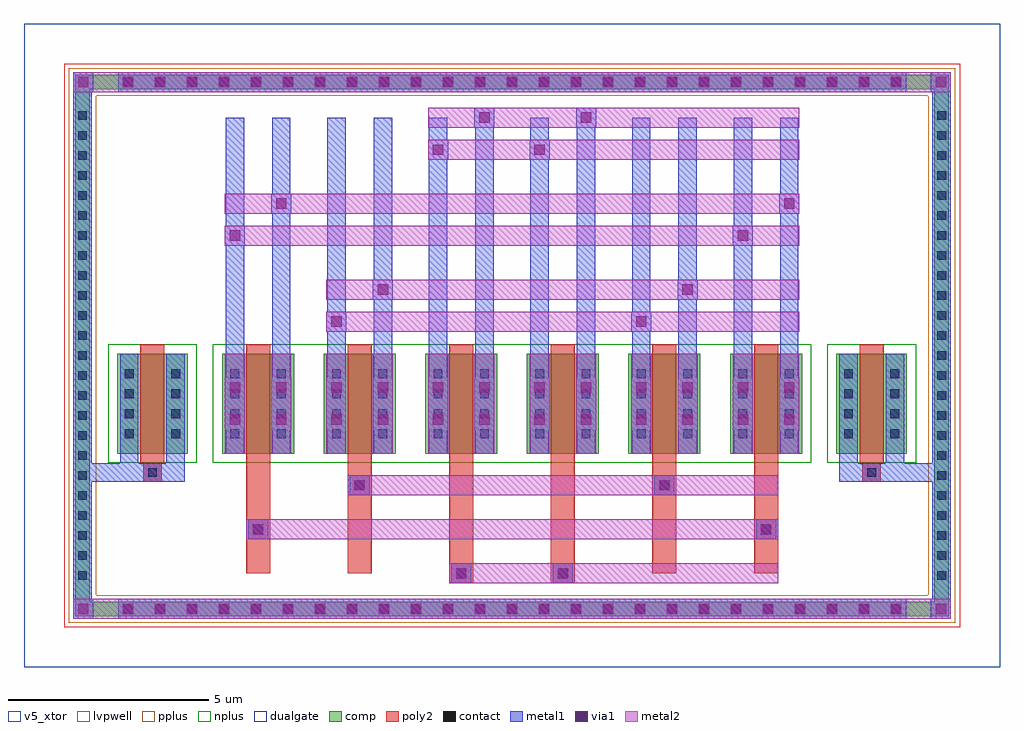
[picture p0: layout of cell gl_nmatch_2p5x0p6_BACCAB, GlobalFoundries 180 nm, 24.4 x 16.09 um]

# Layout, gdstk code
import gdstk
lib = gdstk.Library(unit=1e-6, precision=1e-09)
def R(c, l, rs):  # rectangles x0, y0, x1, y1
    for r in rs: c.add(gdstk.rectangle(r[:2], r[2:], *l))
def A(c, l, x, y, w, h, nx, ny, dx, dy):  # array of equal rectangles
    R(c, l, [(x+i*dx, y+j*dy, x+i*dx+w, y+j*dy+h) for i in range(nx) for j in range(ny)])
def P(c, l, *ps):  # polygons
    for p in ps: c.add(gdstk.Polygon(p, *l))
comp = (22, 0)
poly2 = (30, 0)
pplus = (31, 0)
nplus = (32, 0)
contact = (33, 0)
metal1 = (34, 0)
via1 = (35, 0)
metal2 = (36, 0)
dualgate = (55, 0)
v5_xtor = (112, 1)
lvpwell = (204, 0)

gl_nmatch_2p5x0p6_baccab = lib.new_cell('gl_nmatch_2p5x0p6_BACCAB')
A(gl_nmatch_2p5x0p6_baccab, comp, -9.78, -6.765, 0.36, 0.36, 25, 2, 0.8, 13.17)
A(gl_nmatch_2p5x0p6_baccab, comp, -10.92, -5.93, 0.36, 0.36, 1, 24, 0, 0.5)
A(gl_nmatch_2p5x0p6_baccab, comp, 10.56, -5.93, 0.36, 0.36, 1, 24, 0, 0.5)
A(gl_nmatch_2p5x0p6_baccab, comp, -7.25, -2.705, 1.8, 2.5, 6, 1, 2.54, 0)
R(gl_nmatch_2p5x0p6_baccab, comp, [(-9.78,-6.765,9.78,-6.405), (-10.92,-5.93,-10.56,5.93), (10.56,-5.93,10.92,5.93), (-9.87,-2.705,-8.11,-0.205), (8.11,-2.705,9.87,-0.205), (-9.78,6.405,9.78,6.765)])
P(gl_nmatch_2p5x0p6_baccab, comp, [(-10.92,-6.765),(-10.92,-6.405),(-10.56,-6.405),(10.56,-6.405),(10.56,6.405),(-10.56,6.405),(-10.56,-6.405),(-10.92,-6.405),(-10.92,6.765),(10.92,6.765),(10.92,-6.765)])
A(gl_nmatch_2p5x0p6_baccab, poly2, -6.65, -2.945, 0.6, 2.98, 6, 1, 2.54, 0)
R(gl_nmatch_2p5x0p6_baccab, poly2, [(-1.57,-5.945,-0.97,-5.445), (0.97,-5.945,1.57,-5.445), (-1.45,-5.875,-1.09,-5.515), (1.09,-5.875,1.45,-5.515), (-6.65,-5.695,-6.05,-2.945), (-4.11,-5.695,-3.51,-2.945), (3.51,-5.695,4.11,-2.945), (6.05,-5.695,6.65,-2.945), (-1.57,-5.445,-0.97,-2.945), (0.97,-5.445,1.57,-2.945), (-6.65,-4.845,-6.05,-4.345), (6.05,-4.845,6.65,-4.345), (-6.53,-4.775,-6.17,-4.415), (6.17,-4.775,6.53,-4.415), (-6.65,-4.345,-6.05,-2.945), (6.05,-4.345,6.65,-2.945), (-4.11,-3.745,-3.51,-3.245), (3.51,-3.745,4.11,-3.245), (-3.99,-3.675,-3.63,-3.315), (3.63,-3.675,3.99,-3.315), (-9.22,-3.405,-8.76,-2.945), (8.76,-3.405,9.22,-2.945), (-9.17,-3.355,-8.81,-2.995), (8.81,-3.355,9.17,-2.995), (-4.11,-3.245,-3.51,-2.945), (3.51,-3.245,4.11,-2.945), (-9.29,-2.945,-8.69,0.035), (8.69,-2.945,9.29,0.035)])
P(gl_nmatch_2p5x0p6_baccab, pplus, [(-11.08,-6.925),(-11.08,-6.245),(-10.4,-6.245),(10.4,-6.245),(10.4,6.245),(-10.4,6.245),(-10.4,-6.245),(-11.08,-6.245),(-11.08,6.925),(11.08,6.925),(11.08,-6.925)])
A(gl_nmatch_2p5x0p6_baccab, nplus, -7.48, -2.935, 2.26, 2.96, 6, 1, 2.54, 0)
R(gl_nmatch_2p5x0p6_baccab, nplus, [(-10.1,-2.935,-7.88,0.025), (-7.48,-2.935,7.48,0.025), (7.88,-2.935,10.1,0.025)])
A(gl_nmatch_2p5x0p6_baccab, contact, -9.71, -6.695, 0.22, 0.22, 25, 2, 0.8, 13.17)
A(gl_nmatch_2p5x0p6_baccab, contact, -10.85, -5.86, 0.22, 0.22, 1, 24, 0, 0.5)
A(gl_nmatch_2p5x0p6_baccab, contact, 10.63, -5.86, 0.22, 0.22, 1, 24, 0, 0.5)
A(gl_nmatch_2p5x0p6_baccab, contact, -9.68, -2.315, 0.22, 0.22, 1, 4, 0, 0.5)
A(gl_nmatch_2p5x0p6_baccab, contact, -8.52, -2.315, 0.22, 0.22, 1, 4, 0, 0.5)
A(gl_nmatch_2p5x0p6_baccab, contact, -7.04, -2.315, 0.22, 0.22, 1, 4, 0, 0.5)
A(gl_nmatch_2p5x0p6_baccab, contact, -5.88, -2.315, 0.22, 0.22, 1, 4, 0, 0.5)
A(gl_nmatch_2p5x0p6_baccab, contact, -4.5, -2.315, 0.22, 0.22, 1, 4, 0, 0.5)
A(gl_nmatch_2p5x0p6_baccab, contact, -3.34, -2.315, 0.22, 0.22, 1, 4, 0, 0.5)
A(gl_nmatch_2p5x0p6_baccab, contact, -1.96, -2.315, 0.22, 0.22, 1, 4, 0, 0.5)
A(gl_nmatch_2p5x0p6_baccab, contact, -0.8, -2.315, 0.22, 0.22, 1, 4, 0, 0.5)
A(gl_nmatch_2p5x0p6_baccab, contact, 0.58, -2.315, 0.22, 0.22, 1, 4, 0, 0.5)
A(gl_nmatch_2p5x0p6_baccab, contact, 1.74, -2.315, 0.22, 0.22, 1, 4, 0, 0.5)
A(gl_nmatch_2p5x0p6_baccab, contact, 3.12, -2.315, 0.22, 0.22, 1, 4, 0, 0.5)
A(gl_nmatch_2p5x0p6_baccab, contact, 4.28, -2.315, 0.22, 0.22, 1, 4, 0, 0.5)
A(gl_nmatch_2p5x0p6_baccab, contact, 5.66, -2.315, 0.22, 0.22, 1, 4, 0, 0.5)
A(gl_nmatch_2p5x0p6_baccab, contact, 6.82, -2.315, 0.22, 0.22, 1, 4, 0, 0.5)
A(gl_nmatch_2p5x0p6_baccab, contact, 8.3, -2.315, 0.22, 0.22, 1, 4, 0, 0.5)
A(gl_nmatch_2p5x0p6_baccab, contact, 9.46, -2.315, 0.22, 0.22, 1, 4, 0, 0.5)
R(gl_nmatch_2p5x0p6_baccab, contact, [(-1.38,-5.805,-1.16,-5.585), (1.16,-5.805,1.38,-5.585), (-6.46,-4.705,-6.24,-4.485), (6.24,-4.705,6.46,-4.485), (-3.92,-3.605,-3.7,-3.385), (3.7,-3.605,3.92,-3.385), (-9.1,-3.285,-8.88,-3.065), (8.88,-3.285,9.1,-3.065)])
A(gl_nmatch_2p5x0p6_baccab, metal1, -9.85, -6.835, 0.5, 0.5, 25, 2, 0.8, 13.17)
A(gl_nmatch_2p5x0p6_baccab, metal1, -10.97, -5.98, 0.46, 0.46, 1, 24, 0, 0.5)
A(gl_nmatch_2p5x0p6_baccab, metal1, 10.51, -5.98, 0.46, 0.46, 1, 24, 0, 0.5)
A(gl_nmatch_2p5x0p6_baccab, metal1, -9.8, -2.435, 0.46, 0.46, 1, 4, 0, 0.5)
A(gl_nmatch_2p5x0p6_baccab, metal1, -8.64, -2.435, 0.46, 0.46, 1, 4, 0, 0.5)
A(gl_nmatch_2p5x0p6_baccab, metal1, -7.16, -2.435, 0.46, 0.46, 1, 4, 0, 0.5)
A(gl_nmatch_2p5x0p6_baccab, metal1, -6, -2.435, 0.46, 0.46, 1, 4, 0, 0.5)
A(gl_nmatch_2p5x0p6_baccab, metal1, -4.62, -2.435, 0.46, 0.46, 1, 4, 0, 0.5)
A(gl_nmatch_2p5x0p6_baccab, metal1, -3.46, -2.435, 0.46, 0.46, 1, 4, 0, 0.5)
A(gl_nmatch_2p5x0p6_baccab, metal1, -2.08, -2.435, 0.46, 0.46, 1, 4, 0, 0.5)
A(gl_nmatch_2p5x0p6_baccab, metal1, -0.92, -2.435, 0.46, 0.46, 1, 4, 0, 0.5)
A(gl_nmatch_2p5x0p6_baccab, metal1, 0.46, -2.435, 0.46, 0.46, 1, 4, 0, 0.5)
A(gl_nmatch_2p5x0p6_baccab, metal1, 1.62, -2.435, 0.46, 0.46, 1, 4, 0, 0.5)
A(gl_nmatch_2p5x0p6_baccab, metal1, 3, -2.435, 0.46, 0.46, 1, 4, 0, 0.5)
A(gl_nmatch_2p5x0p6_baccab, metal1, 4.16, -2.435, 0.46, 0.46, 1, 4, 0, 0.5)
A(gl_nmatch_2p5x0p6_baccab, metal1, 5.54, -2.435, 0.46, 0.46, 1, 4, 0, 0.5)
A(gl_nmatch_2p5x0p6_baccab, metal1, 6.7, -2.435, 0.46, 0.46, 1, 4, 0, 0.5)
A(gl_nmatch_2p5x0p6_baccab, metal1, 8.18, -2.435, 0.46, 0.46, 1, 4, 0, 0.5)
A(gl_nmatch_2p5x0p6_baccab, metal1, 9.34, -2.435, 0.46, 0.46, 1, 4, 0, 0.5)
R(gl_nmatch_2p5x0p6_baccab, metal1, [(-10.97,-6.835,-10.47,-6.335), (-10.97,-6.835,-10.47,-6.335), (-10.97,-6.835,-10.51,-6.405), (-9.85,-6.835,9.85,-6.335), (10.47,-6.835,10.97,-6.335), (10.47,-6.835,10.97,-6.335), (10.51,-6.835,10.97,-6.405), (-10.97,-6.405,-10.51,6.405), (10.51,-6.405,10.97,6.405), (-1.52,-5.945,-1.02,-5.445), (1.02,-5.945,1.52,-5.445), (-6.6,-4.845,-6.1,-4.345), (6.1,-4.845,6.6,-4.345), (-4.06,-3.745,-3.56,-3.245), (3.56,-3.745,4.06,-3.245), (-10.97,-3.405,-9.22,-2.945), (-9.8,-3.405,-9.22,-2.945), (-9.8,-3.405,-9.34,-2.705), (-9.22,-3.405,-8.76,-2.945), (-8.76,-3.405,-8.18,-2.945), (-8.64,-3.405,-8.18,-2.705), (8.18,-3.405,8.76,-2.945), (8.18,-3.405,8.64,-2.705), (8.76,-3.405,9.22,-2.945), (9.22,-3.405,9.8,-2.945), (9.22,-3.405,10.97,-2.945), (9.34,-3.405,9.8,-2.705), (-9.8,-2.705,-9.34,-0.205), (-8.64,-2.705,-8.18,-0.205), (-7.16,-2.705,-6.7,-0.205), (-6,-2.705,-5.54,-0.205), (-4.62,-2.705,-4.16,-0.205), (-3.46,-2.705,-3,-0.205), (-2.08,-2.705,-1.62,-0.205), (-0.92,-2.705,-0.46,-0.205), (0.46,-2.705,0.92,-0.205), (1.62,-2.705,2.08,-0.205), (3,-2.705,3.46,-0.205), (4.16,-2.705,4.62,-0.205), (5.54,-2.705,6,-0.205), (6.7,-2.705,7.16,-0.205), (8.18,-2.705,8.64,-0.205), (9.34,-2.705,9.8,-0.205), (-7.18,-2.105,-6.68,-1.605), (-7.18,-2.105,-6.68,-0.805), (-6.02,-2.105,-5.52,-1.605), (-6.02,-2.105,-5.52,-0.805), (-4.64,-2.105,-4.14,-1.605), (-4.64,-2.105,-4.14,-0.805), (-3.48,-2.105,-2.98,-1.605), (-3.48,-2.105,-2.98,-0.805), (-2.1,-2.105,-1.6,-1.605), (-2.1,-2.105,-1.6,-0.805), (-0.94,-2.105,-0.44,-1.605), (-0.94,-2.105,-0.44,-0.805), (0.44,-2.105,0.94,-1.605), (0.44,-2.105,0.94,-0.805), (1.6,-2.105,2.1,-1.605), (1.6,-2.105,2.1,-0.805), (2.98,-2.105,3.48,-1.605), (2.98,-2.105,3.48,-0.805), (4.14,-2.105,4.64,-1.605), (4.14,-2.105,4.64,-0.805), (5.52,-2.105,6.02,-1.605), (5.52,-2.105,6.02,-0.805), (6.68,-2.105,7.18,-1.605), (6.68,-2.105,7.18,-0.805), (-7.18,-1.305,-6.68,-0.805), (-6.02,-1.305,-5.52,-0.805), (-4.64,-1.305,-4.14,-0.805), (-3.48,-1.305,-2.98,-0.805), (-2.1,-1.305,-1.6,-0.805), (-0.94,-1.305,-0.44,-0.805), (0.44,-1.305,0.94,-0.805), (1.6,-1.305,2.1,-0.805), (2.98,-1.305,3.48,-0.805), (4.14,-1.305,4.64,-0.805), (5.52,-1.305,6.02,-0.805), (6.68,-1.305,7.18,-0.805), (-7.16,-0.205,-6.7,2.995), (-7.16,-0.205,-6.7,5.695), (-6,-0.205,-5.54,3.795), (-6,-0.205,-5.54,5.695), (-4.62,-0.205,-4.16,0.845), (-4.62,-0.205,-4.16,5.695), (-3.46,-0.205,-3,1.645), (-3.46,-0.205,-3,5.695), (-2.08,-0.205,-1.62,5.145), (-2.08,-0.205,-1.62,5.695), (-0.92,-0.205,-0.46,5.945), (-0.92,-0.205,-0.46,5.695), (0.46,-0.205,0.92,5.145), (0.46,-0.205,0.92,5.695), (1.62,-0.205,2.08,5.945), (1.62,-0.205,2.08,5.695), (3,-0.205,3.46,0.845), (3,-0.205,3.46,5.695), (4.16,-0.205,4.62,1.645), (4.16,-0.205,4.62,5.695), (5.54,-0.205,6,2.995), (5.54,-0.205,6,5.695), (6.7,-0.205,7.16,3.795), (6.7,-0.205,7.16,5.695), (-4.64,0.345,-4.14,0.845), (2.98,0.345,3.48,0.845), (-3.48,1.145,-2.98,1.645), (4.14,1.145,4.64,1.645), (-7.18,2.495,-6.68,2.995), (5.52,2.495,6.02,2.995), (-6.02,3.295,-5.52,3.795), (6.68,3.295,7.18,3.795), (-2.1,4.645,-1.6,5.145), (0.44,4.645,0.94,5.145), (-0.94,5.445,-0.44,5.945), (1.6,5.445,2.1,5.945), (-10.97,6.335,-10.47,6.835), (-10.97,6.335,-10.47,6.835), (-9.85,6.335,9.85,6.835), (10.47,6.335,10.97,6.835), (10.47,6.335,10.97,6.835), (-10.97,6.405,-10.51,6.835), (10.51,6.405,10.97,6.835)])
A(gl_nmatch_2p5x0p6_baccab, via1, -9.73, -6.715, 0.26, 0.26, 25, 2, 0.8, 13.17)
R(gl_nmatch_2p5x0p6_baccab, via1, [(-10.85,-6.715,-10.59,-6.455), (10.59,-6.715,10.85,-6.455), (-1.4,-5.825,-1.14,-5.565), (1.14,-5.825,1.4,-5.565), (-6.48,-4.725,-6.22,-4.465), (6.22,-4.725,6.48,-4.465), (-3.94,-3.625,-3.68,-3.365), (3.68,-3.625,3.94,-3.365), (-7.06,-1.985,-6.8,-1.725), (-5.9,-1.985,-5.64,-1.725), (-4.52,-1.985,-4.26,-1.725), (-3.36,-1.985,-3.1,-1.725), (-1.98,-1.985,-1.72,-1.725), (-0.82,-1.985,-0.56,-1.725), (0.56,-1.985,0.82,-1.725), (1.72,-1.985,1.98,-1.725), (3.1,-1.985,3.36,-1.725), (4.26,-1.985,4.52,-1.725), (5.64,-1.985,5.9,-1.725), (6.8,-1.985,7.06,-1.725), (-7.06,-1.185,-6.8,-0.925), (-5.9,-1.185,-5.64,-0.925), (-4.52,-1.185,-4.26,-0.925), (-3.36,-1.185,-3.1,-0.925), (-1.98,-1.185,-1.72,-0.925), (-0.82,-1.185,-0.56,-0.925), (0.56,-1.185,0.82,-0.925), (1.72,-1.185,1.98,-0.925), (3.1,-1.185,3.36,-0.925), (4.26,-1.185,4.52,-0.925), (5.64,-1.185,5.9,-0.925), (6.8,-1.185,7.06,-0.925), (-4.52,0.465,-4.26,0.725), (3.1,0.465,3.36,0.725), (-3.36,1.265,-3.1,1.525), (4.26,1.265,4.52,1.525), (-7.06,2.615,-6.8,2.875), (5.64,2.615,5.9,2.875), (-5.9,3.415,-5.64,3.675), (6.8,3.415,7.06,3.675), (-1.98,4.765,-1.72,5.025), (0.56,4.765,0.82,5.025), (-0.82,5.565,-0.56,5.825), (1.72,5.565,1.98,5.825), (-10.85,6.455,-10.59,6.715), (10.59,6.455,10.85,6.715)])
A(gl_nmatch_2p5x0p6_baccab, metal2, -9.85, -6.835, 0.5, 0.5, 25, 2, 0.8, 13.17)
R(gl_nmatch_2p5x0p6_baccab, metal2, [(-10.97,-6.835,-10.47,-6.335), (-10.97,-6.835,-10.47,-6.335), (-10.97,-6.835,-10.56,-6.335), (-10.56,-6.835,10.56,-6.335), (10.47,-6.835,10.97,-6.335), (10.47,-6.835,10.97,-6.335), (10.56,-6.835,10.97,-6.335), (-1.57,-5.945,6.65,-5.445), (-1.57,-5.945,-0.97,-5.445), (-1.52,-5.945,-1.02,-5.445), (0.97,-5.945,1.57,-5.445), (1.02,-5.945,1.52,-5.445), (-6.65,-4.845,6.65,-4.345), (-6.65,-4.845,-6.05,-4.345), (-6.6,-4.845,-6.1,-4.345), (6.05,-4.845,6.65,-4.345), (6.1,-4.845,6.6,-4.345), (-4.11,-3.745,6.65,-3.245), (-4.11,-3.745,-3.51,-3.245), (-4.06,-3.745,-3.56,-3.245), (3.51,-3.745,4.11,-3.245), (3.56,-3.745,4.06,-3.245), (-7.18,-2.705,-6.68,-0.205), (-6.02,-2.705,-5.52,-0.205), (-4.64,-2.705,-4.14,-0.205), (-3.48,-2.705,-2.98,-0.205), (-2.1,-2.705,-1.6,-0.205), (-0.94,-2.705,-0.44,-0.205), (0.44,-2.705,0.94,-0.205), (1.6,-2.705,2.1,-0.205), (2.98,-2.705,3.48,-0.205), (4.14,-2.705,4.64,-0.205), (5.52,-2.705,6.02,-0.205), (6.68,-2.705,7.18,-0.205), (-7.18,-2.105,-6.68,-1.605), (-6.02,-2.105,-5.52,-1.605), (-4.64,-2.105,-4.14,-1.605), (-3.48,-2.105,-2.98,-1.605), (-2.1,-2.105,-1.6,-1.605), (-0.94,-2.105,-0.44,-1.605), (0.44,-2.105,0.94,-1.605), (1.6,-2.105,2.1,-1.605), (2.98,-2.105,3.48,-1.605), (4.14,-2.105,4.64,-1.605), (5.52,-2.105,6.02,-1.605), (6.68,-2.105,7.18,-1.605), (-7.18,-1.305,-6.68,-0.805), (-6.02,-1.305,-5.52,-0.805), (-4.64,-1.305,-4.14,-0.805), (-3.48,-1.305,-2.98,-0.805), (-2.1,-1.305,-1.6,-0.805), (-0.94,-1.305,-0.44,-0.805), (0.44,-1.305,0.94,-0.805), (1.6,-1.305,2.1,-0.805), (2.98,-1.305,3.48,-0.805), (4.14,-1.305,4.64,-0.805), (5.52,-1.305,6.02,-0.805), (6.68,-1.305,7.18,-0.805), (-4.64,0.345,7.18,0.845), (-4.64,0.345,-4.14,0.845), (-4.64,0.345,-2.98,0.845), (2.98,0.345,3.48,0.845), (2.98,0.345,4.64,0.845), (-4.64,1.145,7.18,1.645), (-4.64,1.145,-2.98,1.645), (-3.48,1.145,-2.98,1.645), (2.98,1.145,4.64,1.645), (4.14,1.145,4.64,1.645), (-7.18,2.495,7.18,2.995), (-7.18,2.495,-6.68,2.995), (-7.18,2.495,-5.52,2.995), (5.52,2.495,6.02,2.995), (5.52,2.495,7.18,2.995), (-7.18,3.295,7.18,3.795), (-7.18,3.295,-5.52,3.795), (-6.02,3.295,-5.52,3.795), (5.52,3.295,7.18,3.795), (6.68,3.295,7.18,3.795), (-2.1,4.645,7.18,5.145), (-2.1,4.645,-1.6,5.145), (-2.1,4.645,-0.44,5.145), (0.44,4.645,0.94,5.145), (0.44,4.645,2.1,5.145), (-2.1,5.445,7.18,5.945), (-2.1,5.445,-0.44,5.945), (-0.94,5.445,-0.44,5.945), (0.44,5.445,2.1,5.945), (1.6,5.445,2.1,5.945), (-10.97,6.335,-10.47,6.835), (-10.97,6.335,-10.47,6.835), (-10.97,6.335,-10.56,6.835), (-10.56,6.335,10.56,6.835), (10.47,6.335,10.97,6.835), (10.47,6.335,10.97,6.835), (10.56,6.335,10.97,6.835)])
R(gl_nmatch_2p5x0p6_baccab, dualgate, [(-12.2,-8.045,12.2,8.045)])
R(gl_nmatch_2p5x0p6_baccab, v5_xtor, [(-12.2,-8.045,12.2,8.045)])
R(gl_nmatch_2p5x0p6_baccab, lvpwell, [(-11.2,-7.045,11.2,7.045)])

lib.write_gds('gl_nmatch_2p5x0p6_BACCAB.gds')
